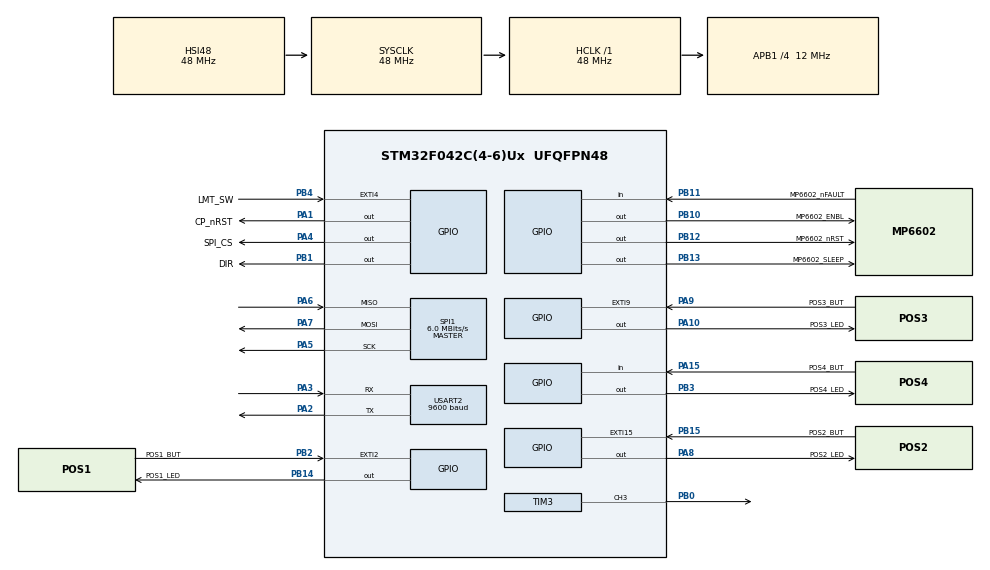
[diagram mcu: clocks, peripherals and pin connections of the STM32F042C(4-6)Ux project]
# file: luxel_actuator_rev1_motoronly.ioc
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Mcu.Family=STM32F0
Mcu.Name=STM32F042C(4-6)Ux
Mcu.Package=UFQFPN48
NVIC.EXTI2_3_IRQn=true\:0\:0\:false\:false\:true\:true\:true\:true
NVIC.EXTI4_15_IRQn=true\:0\:0\:false\:false\:true\:true\:true\:true
NVIC.TIM3_IRQn=true\:0\:0\:false\:false\:true\:true\:true\:true
NVIC.USART2_IRQn=true\:0\:0\:false\:false\:true\:true\:true\:true
PA1.GPIO_Label=CP_nRST
PA1.Signal=GPIO_Output
PA10.GPIO_Label=POS3_LED
PA10.Signal=GPIO_Output
PA15.GPIO_Label=POS4_BUT
PA15.Signal=GPIO_Input
PA2.Mode=Asynchronous
PA2.Signal=USART2_TX
PA3.Mode=Asynchronous
PA3.Signal=USART2_RX
PA4.GPIO_Label=SPI_CS
PA4.Signal=GPIO_Output
PA5.Mode=Full_Duplex_Master
PA5.Signal=SPI1_SCK
PA6.Mode=Full_Duplex_Master
PA6.Signal=SPI1_MISO
PA7.Mode=Full_Duplex_Master
PA7.Signal=SPI1_MOSI
PA8.GPIO_Label=POS2_LED
PA8.Signal=GPIO_Output
PA9.GPIO_Label=POS3_BUT
PA9.GPIO_ModeDefaultEXTI=GPIO_MODE_IT_FALLING
PA9.Signal=GPXTI9
PB0.Signal=S_TIM3_CH3
PB1.GPIO_Label=DIR
PB1.Signal=GPIO_Output
PB10.GPIO_Label=MP6602_ENBL
PB10.Signal=GPIO_Output
PB11.GPIO_Label=MP6602_nFAULT
PB11.Signal=GPIO_Input
PB12.GPIO_Label=MP6602_nRST
PB12.Signal=GPIO_Output
PB13.GPIO_Label=MP6602_SLEEP
PB13.Signal=GPIO_Output
PB14.GPIO_Label=POS1_LED
PB14.Signal=GPIO_Output
PB15.GPIO_Label=POS2_BUT
PB15.GPIO_ModeDefaultEXTI=GPIO_MODE_IT_FALLING
PB15.Signal=GPXTI15
PB2.GPIO_Label=POS1_BUT
PB2.GPIO_ModeDefaultEXTI=GPIO_MODE_IT_FALLING
PB2.Signal=GPXTI2
PB3.GPIO_Label=POS4_LED
PB3.Signal=GPIO_Output
PB4.GPIO_Label=LMT_SW
PB4.GPIO_ModeDefaultEXTI=GPIO_MODE_IT_FALLING
PB4.Signal=GPXTI4
ProjectManager.HeapSize=0x400
ProjectManager.StackSize=0x800
ProjectManager.TargetToolchain=STM32CubeIDE
RCC.AHBFreq_Value=48000000
RCC.APB1CLKDivider=RCC_HCLK_DIV4
RCC.APB1Freq_Value=12000000
RCC.APB1TimFreq_Value=24000000
RCC.FLatency=FLASH_LATENCY_1
RCC.HCLKFreq_Value=48000000
RCC.SYSCLKFreq_VALUE=48000000
RCC.SYSCLKSource=RCC_SYSCLKSOURCE_HSI48
SH.S_TIM3_CH3.0=TIM3_CH3,PWM Generation3 CH3
SPI1.BaudRatePrescaler=SPI_BAUDRATEPRESCALER_2
SPI1.CLKPhase=SPI_PHASE_1EDGE
SPI1.CLKPolarity=SPI_POLARITY_LOW
SPI1.CRCCalculation=SPI_CRCCALCULATION_DISABLE
SPI1.CalculateBaudRate=6.0 MBits/s
SPI1.DataSize=SPI_DATASIZE_4BIT
SPI1.Direction=SPI_DIRECTION_2LINES
SPI1.FirstBit=SPI_FIRSTBIT_MSB
SPI1.Mode=SPI_MODE_MASTER
SPI1.NSS=SPI_NSS_SOFT
SPI1.NSSPMode=SPI_NSS_PULSE_ENABLE
SPI1.TIMode=SPI_TIMODE_DISABLE
SPI1.VirtualType=VM_MASTER
TIM3.AutoReloadPreload=TIM_AUTORELOAD_PRELOAD_ENABLE
TIM3.Channel-PWM\ Generation3\ CH3=TIM_CHANNEL_3
TIM3.ClockDivision=TIM_CLOCKDIVISION_DIV1
TIM3.CounterMode=TIM_COUNTERMODE_UP
TIM3.OC3Preload_PWM=ENABLE
TIM3.OCFastMode_PWM-PWM\ Generation3\ CH3=TIM_OCFAST_DISABLE
TIM3.OCMode_PWM-PWM\ Generation3\ CH3=TIM_OCMODE_PWM1
TIM3.OCPolarity_3=TIM_OCPOLARITY_HIGH
TIM3.Period=1000
TIM3.Prescaler=0
TIM3.Pulse-PWM\ Generation3\ CH3=0
TIM3.TIM_MasterOutputTrigger=TIM_TRGO_RESET
TIM3.TIM_MasterSlaveMode=TIM_MASTERSLAVEMODE_DISABLE
USART2.BaudRate=9600
USART2.DMADisableonRxErrorParam=ADVFEATURE_DMA_ENABLEONRXERROR
USART2.DataInvertParam=ADVFEATURE_DATAINV_DISABLE
USART2.MSBFirstParam=ADVFEATURE_MSBFIRST_DISABLE
USART2.Mode=MODE_TX_RX
USART2.OneBitSampling=UART_ONE_BIT_SAMPLE_DISABLE
USART2.OverSampling=UART_OVERSAMPLING_16
USART2.OverrunDisableParam=ADVFEATURE_OVERRUN_ENABLE
USART2.Parity=PARITY_NONE
USART2.RxPinLevelInvertParam=ADVFEATURE_RXINV_DISABLE
USART2.StopBits=STOPBITS_1
USART2.SwapParam=ADVFEATURE_SWAP_DISABLE
USART2.TxPinLevelInvertParam=ADVFEATURE_TXINV_DISABLE
USART2.VirtualMode-Asynchronous=VM_ASYNC
USART2.WordLength=WORDLENGTH_8B
VP_TIM3_VS_ClockSourceINT.Mode=Internal
board=custom

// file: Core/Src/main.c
/* USER CODE BEGIN Header */
/**
  ******************************************************************************
  * @file           : main.c
  * @brief          : Main program body
  ******************************************************************************
  * @attention
  *
  * Copyright (c) 2026 STMicroelectronics.
  * All rights reserved.
  *
  * This software is licensed under terms that can be found in the LICENSE file
  * in the root directory of this software component.
  * If no LICENSE file comes with this software, it is provided AS-IS.
  *
  ******************************************************************************
  */
/* USER CODE END Header */
#include "main.h"

/* USER CODE BEGIN Includes */
#include "../Inc/mp6602.h"
/* USER CODE END Includes */

SPI_HandleTypeDef hspi1;

TIM_HandleTypeDef htim3;

UART_HandleTypeDef huart2;

void SystemClock_Config(void);
static void MX_GPIO_Init(void);
static void MX_SPI1_Init(void);
static void MX_TIM3_Init(void);
static void MX_USART2_UART_Init(void);
/* USER CODE BEGIN PFP */
void actuator_move_in(void);

/* USER CODE END PFP */

/* USER CODE BEGIN 0 */
uint32_t gl_pulse_cnt = 0;
// With no microstepping, 10310 counts is 32 mm
uint32_t gl_pulseperposition = 39951;
uint8_t gl_filter_position;
uint32_t gl_actuator_position;
uint32_t gl_actuator_offset = 2577;

/* USER CODE END 0 */

int main(void)
{

  /* MCU Configuration--------------------------------------------------------*/

  /* Reset of all peripherals, Initializes the Flash interface and the Systick. */
  HAL_Init();

  /* Configure the system clock */
  SystemClock_Config();

  /* Initialize all configured peripherals */
  MX_GPIO_Init();
  MX_SPI1_Init();
  MX_TIM3_Init();
  MX_USART2_UART_Init();
  /* USER CODE BEGIN 2 */

  HAL_GPIO_WritePin(GPIOB, MP6602_nRST_Pin, RESET);
  HAL_Delay(500);
  HAL_GPIO_WritePin(GPIOB, MP6602_nRST_Pin, SET);
  HAL_GPIO_WritePin(GPIOB, MP6602_ENBL_Pin, SET);

  mp6602_init();

  // Set motor direction
  HAL_GPIO_WritePin(GPIOB, DIR_Pin, RESET);

  // Set duty cycle for PWM, 50%
  // Half of ARR
  // OG NEMA 17 motor settings
  // Counter Period: 5000
  // CCR3: 2500
  TIM3->CCR3 = 1200;

  actuator_move_in();

  /* USER CODE END 2 */

  /* Infinite loop */
  while (1)
  {

  }
}

void SystemClock_Config(void)
{
  RCC_OscInitTypeDef RCC_OscInitStruct = {0};
  RCC_ClkInitTypeDef RCC_ClkInitStruct = {0};

  /** Initializes the RCC Oscillators according to the specified parameters
  * in the RCC_OscInitTypeDef structure.
  */
  RCC_OscInitStruct.OscillatorType = RCC_OSCILLATORTYPE_HSI48;
  RCC_OscInitStruct.HSI48State = RCC_HSI48_ON;
  RCC_OscInitStruct.PLL.PLLState = RCC_PLL_NONE;
  if (HAL_RCC_OscConfig(&RCC_OscInitStruct) != HAL_OK)
  {
    Error_Handler();
  }

  /** Initializes the CPU, AHB and APB buses clocks
  */
  RCC_ClkInitStruct.ClockType = RCC_CLOCKTYPE_HCLK|RCC_CLOCKTYPE_SYSCLK
                              |RCC_CLOCKTYPE_PCLK1;
  RCC_ClkInitStruct.SYSCLKSource = RCC_SYSCLKSOURCE_HSI48;
  RCC_ClkInitStruct.AHBCLKDivider = RCC_SYSCLK_DIV1;
  RCC_ClkInitStruct.APB1CLKDivider = RCC_HCLK_DIV4;

  if (HAL_RCC_ClockConfig(&RCC_ClkInitStruct, FLASH_LATENCY_1) != HAL_OK)
  {
    Error_Handler();
  }
}

static void MX_SPI1_Init(void)
{

  /* SPI1 parameter configuration*/
  hspi1.Instance = SPI1;
  hspi1.Init.Mode = SPI_MODE_MASTER;
  hspi1.Init.Direction = SPI_DIRECTION_2LINES;
  hspi1.Init.DataSize = SPI_DATASIZE_4BIT;
  hspi1.Init.CLKPolarity = SPI_POLARITY_LOW;
  hspi1.Init.CLKPhase = SPI_PHASE_1EDGE;
  hspi1.Init.NSS = SPI_NSS_SOFT;
  hspi1.Init.BaudRatePrescaler = SPI_BAUDRATEPRESCALER_2;
  hspi1.Init.FirstBit = SPI_FIRSTBIT_MSB;
  hspi1.Init.TIMode = SPI_TIMODE_DISABLE;
  hspi1.Init.CRCCalculation = SPI_CRCCALCULATION_DISABLE;
  hspi1.Init.CRCPolynomial = 7;
  hspi1.Init.CRCLength = SPI_CRC_LENGTH_DATASIZE;
  hspi1.Init.NSSPMode = SPI_NSS_PULSE_ENABLE;
  if (HAL_SPI_Init(&hspi1) != HAL_OK)
  {
    Error_Handler();
  }

}

static void MX_TIM3_Init(void)
{

  TIM_ClockConfigTypeDef sClockSourceConfig = {0};
  TIM_MasterConfigTypeDef sMasterConfig = {0};
  TIM_OC_InitTypeDef sConfigOC = {0};

  htim3.Instance = TIM3;
  htim3.Init.Prescaler = 0;
  htim3.Init.CounterMode = TIM_COUNTERMODE_UP;
  htim3.Init.Period = 1000;
  htim3.Init.ClockDivision = TIM_CLOCKDIVISION_DIV1;
  htim3.Init.AutoReloadPreload = TIM_AUTORELOAD_PRELOAD_ENABLE;
  if (HAL_TIM_Base_Init(&htim3) != HAL_OK)
  {
    Error_Handler();
  }
  sClockSourceConfig.ClockSource = TIM_CLOCKSOURCE_INTERNAL;
  if (HAL_TIM_ConfigClockSource(&htim3, &sClockSourceConfig) != HAL_OK)
  {
    Error_Handler();
  }
  if (HAL_TIM_PWM_Init(&htim3) != HAL_OK)
  {
    Error_Handler();
  }
  sMasterConfig.MasterOutputTrigger = TIM_TRGO_RESET;
  sMasterConfig.MasterSlaveMode = TIM_MASTERSLAVEMODE_DISABLE;
  if (HAL_TIMEx_MasterConfigSynchronization(&htim3, &sMasterConfig) != HAL_OK)
  {
    Error_Handler();
  }
  sConfigOC.OCMode = TIM_OCMODE_PWM1;
  sConfigOC.Pulse = 0;
  sConfigOC.OCPolarity = TIM_OCPOLARITY_HIGH;
  sConfigOC.OCFastMode = TIM_OCFAST_DISABLE;
  if (HAL_TIM_PWM_ConfigChannel(&htim3, &sConfigOC, TIM_CHANNEL_3) != HAL_OK)
  {
    Error_Handler();
  }
  HAL_TIM_MspPostInit(&htim3);

}

static void MX_USART2_UART_Init(void)
{

  huart2.Instance = USART2;
  huart2.Init.BaudRate = 9600;
  huart2.Init.WordLength = UART_WORDLENGTH_8B;
  huart2.Init.StopBits = UART_STOPBITS_1;
  huart2.Init.Parity = UART_PARITY_NONE;
  huart2.Init.Mode = UART_MODE_TX_RX;
  huart2.Init.HwFlowCtl = UART_HWCONTROL_NONE;
  huart2.Init.OverSampling = UART_OVERSAMPLING_16;
  huart2.Init.OneBitSampling = UART_ONE_BIT_SAMPLE_DISABLE;
  huart2.AdvancedInit.AdvFeatureInit = UART_ADVFEATURE_NO_INIT;
  if (HAL_UART_Init(&huart2) != HAL_OK)
  {
    Error_Handler();
  }

}

static void MX_GPIO_Init(void)
{
  GPIO_InitTypeDef GPIO_InitStruct = {0};

  /* GPIO Ports Clock Enable */
  __HAL_RCC_GPIOA_CLK_ENABLE();
  __HAL_RCC_GPIOB_CLK_ENABLE();

  /*Configure GPIO pin Output Level */
  HAL_GPIO_WritePin(GPIOA, CP_nRST_Pin|SPI_CS_Pin|POS2_LED_Pin|POS3_LED_Pin, GPIO_PIN_RESET);

  /*Configure GPIO pin Output Level */
  HAL_GPIO_WritePin(GPIOB, DIR_Pin|MP6602_ENBL_Pin|MP6602_nRST_Pin|MP6602_SLEEP_Pin
                          |POS1_LED_Pin|POS4_LED_Pin, GPIO_PIN_RESET);

  /*Configure GPIO pins : CP_nRST_Pin SPI_CS_Pin POS2_LED_Pin POS3_LED_Pin */
  GPIO_InitStruct.Pin = CP_nRST_Pin|SPI_CS_Pin|POS2_LED_Pin|POS3_LED_Pin;
  GPIO_InitStruct.Mode = GPIO_MODE_OUTPUT_PP;
  GPIO_InitStruct.Pull = GPIO_NOPULL;
  GPIO_InitStruct.Speed = GPIO_SPEED_FREQ_LOW;
  HAL_GPIO_Init(GPIOA, &GPIO_InitStruct);

  /*Configure GPIO pins : DIR_Pin MP6602_ENBL_Pin MP6602_nRST_Pin MP6602_SLEEP_Pin
                           POS1_LED_Pin POS4_LED_Pin */
  GPIO_InitStruct.Pin = DIR_Pin|MP6602_ENBL_Pin|MP6602_nRST_Pin|MP6602_SLEEP_Pin
                          |POS1_LED_Pin|POS4_LED_Pin;
  GPIO_InitStruct.Mode = GPIO_MODE_OUTPUT_PP;
  GPIO_InitStruct.Pull = GPIO_NOPULL;
  GPIO_InitStruct.Speed = GPIO_SPEED_FREQ_LOW;
  HAL_GPIO_Init(GPIOB, &GPIO_InitStruct);

  /*Configure GPIO pins : POS1_BUT_Pin POS2_BUT_Pin LMT_SW_Pin */
  GPIO_InitStruct.Pin = POS1_BUT_Pin|POS2_BUT_Pin|LMT_SW_Pin;
  GPIO_InitStruct.Mode = GPIO_MODE_IT_FALLING;
  GPIO_InitStruct.Pull = GPIO_NOPULL;
  HAL_GPIO_Init(GPIOB, &GPIO_InitStruct);

  /*Configure GPIO pin : MP6602_nFAULT_Pin */
  GPIO_InitStruct.Pin = MP6602_nFAULT_Pin;
  GPIO_InitStruct.Mode = GPIO_MODE_INPUT;
  GPIO_InitStruct.Pull = GPIO_NOPULL;
  HAL_GPIO_Init(MP6602_nFAULT_GPIO_Port, &GPIO_InitStruct);

  /*Configure GPIO pin : POS3_BUT_Pin */
  GPIO_InitStruct.Pin = POS3_BUT_Pin;
  GPIO_InitStruct.Mode = GPIO_MODE_IT_FALLING;
  GPIO_InitStruct.Pull = GPIO_NOPULL;
  HAL_GPIO_Init(POS3_BUT_GPIO_Port, &GPIO_InitStruct);

  /*Configure GPIO pin : POS4_BUT_Pin */
  GPIO_InitStruct.Pin = POS4_BUT_Pin;
  GPIO_InitStruct.Mode = GPIO_MODE_INPUT;
  GPIO_InitStruct.Pull = GPIO_NOPULL;
  HAL_GPIO_Init(POS4_BUT_GPIO_Port, &GPIO_InitStruct);

  /* EXTI interrupt init*/
  HAL_NVIC_SetPriority(EXTI2_3_IRQn, 0, 0);
  HAL_NVIC_EnableIRQ(EXTI2_3_IRQn);

  HAL_NVIC_SetPriority(EXTI4_15_IRQn, 0, 0);
  HAL_NVIC_EnableIRQ(EXTI4_15_IRQn);

}

/* USER CODE BEGIN 4 */
void actuator_move_in(void)
{
	if(gl_filter_position < 4)
	{
		gl_pulse_cnt = 0;

		HAL_GPIO_WritePin(GPIOB, DIR_Pin, SET);
		HAL_TIM_PWM_Start(&htim3, TIM_CHANNEL_3);
		HAL_TIM_Base_Start(&htim3);

		HAL_Delay(2000);
		HAL_TIM_PWM_Stop(&htim3, TIM_CHANNEL_3);
		HAL_TIM_Base_Stop(&htim3);

		gl_filter_position++;
	}
} // actuator_move_in

/* USER CODE END 4 */

void Error_Handler(void)
{
  __disable_irq();
  while (1)
  {
  }
}
